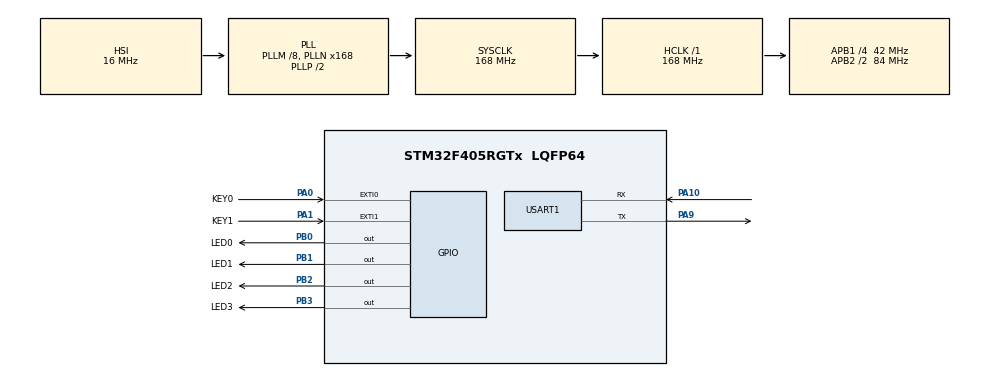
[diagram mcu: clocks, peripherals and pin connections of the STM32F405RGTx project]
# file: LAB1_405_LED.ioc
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Mcu.Family=STM32F4
Mcu.Name=STM32F405RGTx
Mcu.Package=LQFP64
NVIC.EXTI0_IRQn=true\:2\:0\:true\:false\:true\:true\:true\:true
NVIC.EXTI1_IRQn=true\:2\:0\:true\:false\:true\:true\:true\:true
NVIC.PriorityGroup=NVIC_PRIORITYGROUP_4
NVIC.TIM3_IRQn=true\:1\:0\:true\:false\:true\:true\:true\:true
PA0-WKUP.GPIO_Label=KEY0
PA0-WKUP.GPIO_PuPd=GPIO_PULLUP
PA0-WKUP.Signal=GPXTI0
PA1.GPIO_Label=KEY1
PA1.GPIO_PuPd=GPIO_PULLUP
PA1.Signal=GPXTI1
PA10.Mode=Asynchronous
PA10.Signal=USART1_RX
PA13.Mode=Serial_Wire
PA13.Signal=SYS_JTMS-SWDIO
PA14.Mode=Serial_Wire
PA14.Signal=SYS_JTCK-SWCLK
PA9.Mode=Asynchronous
PA9.Signal=USART1_TX
PB0.GPIO_Label=LED0
PB0.Signal=GPIO_Output
PB1.GPIO_Label=LED1
PB1.Signal=GPIO_Output
PB2.GPIO_Label=LED2
PB2.Signal=GPIO_Output
PB3.GPIO_Label=LED3
PB3.Signal=GPIO_Output
PH0-OSC_IN.Mode=HSE-External-Oscillator
PH0-OSC_IN.Signal=RCC_OSC_IN
PH1-OSC_OUT.Mode=HSE-External-Oscillator
PH1-OSC_OUT.Signal=RCC_OSC_OUT
ProjectManager.HeapSize=0x200
ProjectManager.StackSize=0x400
ProjectManager.TargetToolchain=STM32CubeIDE
RCC.48MHZClocksFreq_Value=84000000
RCC.AHBFreq_Value=168000000
RCC.APB1CLKDivider=RCC_HCLK_DIV4
RCC.APB1Freq_Value=42000000
RCC.APB1TimFreq_Value=84000000
RCC.APB2CLKDivider=RCC_HCLK_DIV2
RCC.APB2Freq_Value=84000000
RCC.APB2TimFreq_Value=168000000
RCC.CortexFreq_Value=168000000
RCC.HCLKFreq_Value=168000000
RCC.HSE_VALUE=8000000
RCC.HSI_VALUE=16000000
RCC.LSE_VALUE=32768
RCC.PLLM=8
RCC.PLLN=168
RCC.SYSCLKFreq_VALUE=168000000
RCC.SYSCLKSource=RCC_SYSCLKSOURCE_PLLCLK
RCC.VCOOutputFreq_Value=336000000
TIM3.Period=999
TIM3.Prescaler=83
USART1.VirtualMode=VM_ASYNC
VP_TIM3_VS_ClockSourceINT.Mode=Internal
board=custom

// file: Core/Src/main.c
/* USER CODE BEGIN Header */
/**
  ******************************************************************************
  * @file           : main.c
  * @brief          : Main program body
  ******************************************************************************
  * @attention
  *
  * Copyright (c) 2022 STMicroelectronics.
  * All rights reserved.
  *
  * This software is licensed under terms that can be found in the LICENSE file
  * in the root directory of this software component.
  * If no LICENSE file comes with this software, it is provided AS-IS.
  *
  ******************************************************************************
  */
/* USER CODE END Header */
#include "main.h"

TIM_HandleTypeDef htim3;

UART_HandleTypeDef huart1;

uint16_t time_ms = 1000;
int state_0 = 0 , state_1 = 0, mode_led = 0, is_2Press = 0;

void SystemClock_Config(void);
static void MX_GPIO_Init(void);
static void MX_TIM3_Init(void);
static void MX_USART1_UART_Init(void);

/* USER CODE BEGIN 0 */
void delay_1ms (void)
{
    __HAL_TIM_SET_COUNTER(&htim3, 0);  // set the counter value a 0
    while (__HAL_TIM_GET_COUNTER(&htim3) < 999);  // wait for the counter to reach the us input in the parameter
}

void delay_ms(int time)
{
 int i = 0;
 for(i = 0; i < time; i++)
 {
   delay_1ms();
 }
}
/* USER CODE END 0 */

int main(void)
{

  /* MCU Configuration--------------------------------------------------------*/

  /* Reset of all peripherals, Initializes the Flash interface and the Systick. */
  HAL_Init();

  /* Configure the system clock */
  SystemClock_Config();

  /* Initialize all configured peripherals */
  MX_GPIO_Init();
  MX_TIM3_Init();
  MX_USART1_UART_Init();
  HAL_TIM_Base_Start(&htim3);

  /* Infinite loop */
  while (1)
  {

    /* USER CODE BEGIN 3 */
	  if (mode_led == 0)
	  {
		  HAL_GPIO_WritePin(GPIOB, LED0_Pin, GPIO_PIN_SET);
		  HAL_GPIO_WritePin(GPIOB, LED1_Pin, GPIO_PIN_SET);
		  HAL_GPIO_WritePin(GPIOB, LED2_Pin, GPIO_PIN_SET);
		  HAL_GPIO_WritePin(GPIOB, LED3_Pin, GPIO_PIN_SET);
		  delay_ms(time_ms);
		  HAL_GPIO_WritePin(GPIOB, LED0_Pin, GPIO_PIN_RESET);
		  HAL_GPIO_WritePin(GPIOB, LED1_Pin, GPIO_PIN_RESET);
		  HAL_GPIO_WritePin(GPIOB, LED2_Pin, GPIO_PIN_RESET);
		  HAL_GPIO_WritePin(GPIOB, LED3_Pin, GPIO_PIN_RESET);
		  delay_ms(time_ms);
	  }
	  else
	  {
		  HAL_GPIO_WritePin(GPIOB, LED0_Pin, GPIO_PIN_SET);
		  HAL_GPIO_WritePin(GPIOB, LED1_Pin, GPIO_PIN_RESET);
		  HAL_GPIO_WritePin(GPIOB, LED2_Pin, GPIO_PIN_SET);
		  HAL_GPIO_WritePin(GPIOB, LED3_Pin, GPIO_PIN_RESET);
		  delay_ms(time_ms);
		  HAL_GPIO_WritePin(GPIOB, LED0_Pin, GPIO_PIN_RESET);
		  HAL_GPIO_WritePin(GPIOB, LED1_Pin, GPIO_PIN_SET);
		  HAL_GPIO_WritePin(GPIOB, LED2_Pin, GPIO_PIN_RESET);
		  HAL_GPIO_WritePin(GPIOB, LED3_Pin, GPIO_PIN_SET);
		  delay_ms(time_ms);
	  }
  }
  /* USER CODE END 3 */
}

void SystemClock_Config(void)
{
  RCC_OscInitTypeDef RCC_OscInitStruct = {0};
  RCC_ClkInitTypeDef RCC_ClkInitStruct = {0};

  /** Configure the main internal regulator output voltage
  */
  __HAL_RCC_PWR_CLK_ENABLE();
  __HAL_PWR_VOLTAGESCALING_CONFIG(PWR_REGULATOR_VOLTAGE_SCALE1);

  /** Initializes the RCC Oscillators according to the specified parameters
  * in the RCC_OscInitTypeDef structure.
  */
  RCC_OscInitStruct.OscillatorType = RCC_OSCILLATORTYPE_HSI;
  RCC_OscInitStruct.HSIState = RCC_HSI_ON;
  RCC_OscInitStruct.HSICalibrationValue = RCC_HSICALIBRATION_DEFAULT;
  RCC_OscInitStruct.PLL.PLLState = RCC_PLL_ON;
  RCC_OscInitStruct.PLL.PLLSource = RCC_PLLSOURCE_HSI;
  RCC_OscInitStruct.PLL.PLLM = 8;
  RCC_OscInitStruct.PLL.PLLN = 168;
  RCC_OscInitStruct.PLL.PLLP = RCC_PLLP_DIV2;
  RCC_OscInitStruct.PLL.PLLQ = 4;
  if (HAL_RCC_OscConfig(&RCC_OscInitStruct) != HAL_OK)
  {
    Error_Handler();
  }

  /** Initializes the CPU, AHB and APB buses clocks
  */
  RCC_ClkInitStruct.ClockType = RCC_CLOCKTYPE_HCLK|RCC_CLOCKTYPE_SYSCLK
                              |RCC_CLOCKTYPE_PCLK1|RCC_CLOCKTYPE_PCLK2;
  RCC_ClkInitStruct.SYSCLKSource = RCC_SYSCLKSOURCE_PLLCLK;
  RCC_ClkInitStruct.AHBCLKDivider = RCC_SYSCLK_DIV1;
  RCC_ClkInitStruct.APB1CLKDivider = RCC_HCLK_DIV4;
  RCC_ClkInitStruct.APB2CLKDivider = RCC_HCLK_DIV2;

  if (HAL_RCC_ClockConfig(&RCC_ClkInitStruct, FLASH_LATENCY_5) != HAL_OK)
  {
    Error_Handler();
  }
}

static void MX_TIM3_Init(void)
{

  TIM_ClockConfigTypeDef sClockSourceConfig = {0};
  TIM_MasterConfigTypeDef sMasterConfig = {0};

  htim3.Instance = TIM3;
  htim3.Init.Prescaler = 83;
  htim3.Init.CounterMode = TIM_COUNTERMODE_UP;
  htim3.Init.Period = 999;
  htim3.Init.ClockDivision = TIM_CLOCKDIVISION_DIV1;
  htim3.Init.AutoReloadPreload = TIM_AUTORELOAD_PRELOAD_DISABLE;
  if (HAL_TIM_Base_Init(&htim3) != HAL_OK)
  {
    Error_Handler();
  }
  sClockSourceConfig.ClockSource = TIM_CLOCKSOURCE_INTERNAL;
  if (HAL_TIM_ConfigClockSource(&htim3, &sClockSourceConfig) != HAL_OK)
  {
    Error_Handler();
  }
  sMasterConfig.MasterOutputTrigger = TIM_TRGO_RESET;
  sMasterConfig.MasterSlaveMode = TIM_MASTERSLAVEMODE_DISABLE;
  if (HAL_TIMEx_MasterConfigSynchronization(&htim3, &sMasterConfig) != HAL_OK)
  {
    Error_Handler();
  }

}

static void MX_USART1_UART_Init(void)
{

  huart1.Instance = USART1;
  huart1.Init.BaudRate = 115200;
  huart1.Init.WordLength = UART_WORDLENGTH_8B;
  huart1.Init.StopBits = UART_STOPBITS_1;
  huart1.Init.Parity = UART_PARITY_NONE;
  huart1.Init.Mode = UART_MODE_TX_RX;
  huart1.Init.HwFlowCtl = UART_HWCONTROL_NONE;
  huart1.Init.OverSampling = UART_OVERSAMPLING_16;
  if (HAL_UART_Init(&huart1) != HAL_OK)
  {
    Error_Handler();
  }

}

static void MX_GPIO_Init(void)
{
  GPIO_InitTypeDef GPIO_InitStruct = {0};

  /* GPIO Ports Clock Enable */
  __HAL_RCC_GPIOH_CLK_ENABLE();
  __HAL_RCC_GPIOA_CLK_ENABLE();
  __HAL_RCC_GPIOB_CLK_ENABLE();

  /*Configure GPIO pin Output Level */
  HAL_GPIO_WritePin(GPIOB, LED0_Pin|LED1_Pin|LED2_Pin|LED3_Pin, GPIO_PIN_RESET);

  /*Configure GPIO pins : KEY0_Pin KEY1_Pin */
  GPIO_InitStruct.Pin = KEY0_Pin|KEY1_Pin;
  GPIO_InitStruct.Mode = GPIO_MODE_IT_RISING;
  GPIO_InitStruct.Pull = GPIO_PULLUP;
  HAL_GPIO_Init(GPIOA, &GPIO_InitStruct);

  /*Configure GPIO pins : LED0_Pin LED1_Pin LED2_Pin LED3_Pin */
  GPIO_InitStruct.Pin = LED0_Pin|LED1_Pin|LED2_Pin|LED3_Pin;
  GPIO_InitStruct.Mode = GPIO_MODE_OUTPUT_PP;
  GPIO_InitStruct.Pull = GPIO_NOPULL;
  GPIO_InitStruct.Speed = GPIO_SPEED_FREQ_LOW;
  HAL_GPIO_Init(GPIOB, &GPIO_InitStruct);

  /* EXTI interrupt init*/
  HAL_NVIC_SetPriority(EXTI0_IRQn, 2, 0);
  HAL_NVIC_EnableIRQ(EXTI0_IRQn);

  HAL_NVIC_SetPriority(EXTI1_IRQn, 2, 0);
  HAL_NVIC_EnableIRQ(EXTI1_IRQn);

}

/* USER CODE BEGIN 4 */
/**
  * @brief EXTI line detection callbacks
  * @param GPIO_Pin: Specifies the pins connected EXTI line
  * @retval None
  */
void HAL_GPIO_EXTI_Callback(uint16_t GPIO_Pin)
{
  if(GPIO_Pin == KEY0_Pin)
  {
	  if (state_1 == 0)
	  {
		  state_0 = 1;
		  if (HAL_GPIO_ReadPin(GPIOA, KEY1_Pin) == 0)
		  {
			  is_2Press = 1;
		  }
		  else if (HAL_GPIO_ReadPin(GPIOA, KEY0_Pin) == 1 && HAL_GPIO_ReadPin(GPIOA, KEY1_Pin) == 1 && is_Press == 1)
		  {
			  if (mode_led == 0 ) mode_led = 1;
			  is_2Press = 0;
		  }
		  else
		  {
			  time_ms +=100;
		  }
		  state_0 = 0;
	  }

  }
  if(GPIO_Pin == KEY1_Pin)
  {
	  if (state_0 == 0)
	  {
		  state_1 = 1;
		  if (HAL_GPIO_ReadPin(GPIOA, KEY0_Pin) == 0)
		  {
			  is_2Press = 1;
		  }
		  else if (HAL_GPIO_ReadPin(GPIOA, KEY0_Pin) == 1 && HAL_GPIO_ReadPin(GPIOA, KEY1_Pin) == 1 && is_Press == 1)
		  {
			  if (mode_led == 0 ) mode_led = 1;
			  is_2Press = 0;
		  }
		  else
		  {
			  time_ms -=100;
		  }
		  state_1 = 0;
	  }

  }
}
/* USER CODE END 4 */

void Error_Handler(void)
{
  __disable_irq();
  while (1)
  {
  }
}
